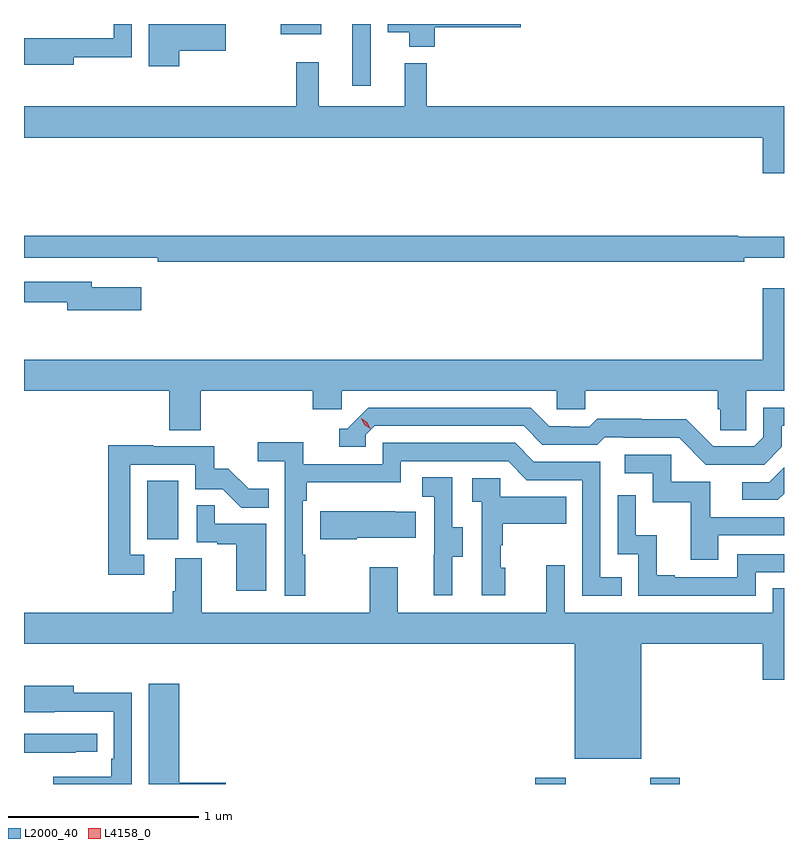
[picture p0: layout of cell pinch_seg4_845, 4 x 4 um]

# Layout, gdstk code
import gdstk
lib = gdstk.Library(unit=1e-6, precision=1e-09)
def R(c, l, rs):  # rectangles x0, y0, x1, y1
    for r in rs: c.add(gdstk.rectangle(r[:2], r[2:], *l))
def P(c, l, *ps):  # polygons
    for p in ps: c.add(gdstk.Polygon(p, *l))
L2000_40 = (2000, 40)
L4158_0 = (4158, 0)

pinch_seg4_845 = lib.new_cell('pinch_seg4_845')
R(pinch_seg4_845, L2000_40, [(883.091,800.078,883.251,800.11), (883.696,800.078,883.851,800.11), (881.048,801.366,881.212,801.673), (882.128,803.754,882.225,804.078), (881.75,804.023,881.965,804.078)])
P(pinch_seg4_845, L2000_40, [(882.563,804.061),(883.015,804.061),(883.015,804.078),(882.314,804.078),(882.314,804.035),(882.428,804.035),(882.428,803.957),(882.563,803.957)],
  [(881.218,803.938),(881.461,803.938),(881.461,804.078),(881.057,804.078),(881.057,803.856),(881.218,803.856)],
  [(880.663,803.902),(880.968,803.902),(880.968,804.078),(880.872,804.078),(880.872,804.003),(880.559,804.003),(880.559,804.004),(880.4,804.004),(880.4,803.864),(880.663,803.864)],
  [(884.4,803.644),(882.521,803.644),(882.521,803.872),(882.404,803.872),(882.404,803.644),(881.951,803.644),(881.951,803.878),(881.833,803.878),(881.833,803.644),(880.4,803.644),(880.4,803.48),(884.288,803.48),(884.288,803.292),(884.4,803.292)],
  [(884.192,802.847),(884.4,802.847),(884.4,802.957),(884.158,802.957),(884.158,802.964),(880.4,802.964),(880.4,802.848),(880.852,802.848),(880.852,802.847),(881.104,802.847),(881.104,802.828),(884.192,802.828)],
  [(881.017,802.693),(880.756,802.693),(880.756,802.722),(880.4,802.722),(880.4,802.614),(880.628,802.614),(880.628,802.571),(881.017,802.571)],
  [(881.33,802.148),(881.921,802.148),(881.921,802.05),(882.072,802.05),(882.072,802.148),(883.203,802.148),(883.203,802.05),(883.353,802.05),(883.353,802.148),(884.051,802.148),(884.051,802.05),(884.065,802.05),(884.065,801.94),(884.202,801.94),(884.202,802.148),(884.4,802.148),(884.4,802.687),(884.288,802.687),(884.288,802.312),(880.4,802.312),(880.4,802.148),(881.165,802.148),(881.165,801.94),(881.33,801.94)],
  [(884.389,801.853),(884.389,801.963),(884.4,801.963),(884.4,802.059),(884.292,802.059),(884.292,801.903),(884.244,801.855),(884.028,801.855),(883.886,801.997),(883.65,801.997),(883.65,802),(883.417,802),(883.375,801.957),(883.272,801.957),(883.272,801.96),(883.165,801.96),(883.066,802.059),(882.213,802.059),(882.102,801.948),(882.059,801.948),(882.059,801.852),(882.198,801.852),(882.198,801.915),(882.246,801.963),(883.029,801.963),(883.128,801.864),(883.417,801.864),(883.456,801.903),(883.555,801.903),(883.555,801.9),(883.848,801.9),(883.989,801.759),(884.295,801.759)],
  [(881.881,801.284),(881.868,801.284),(881.868,801.569),(881.888,801.569),(881.888,801.665),(882.384,801.665),(882.384,801.777),(882.948,801.777),(883.047,801.678),(883.338,801.678),(883.338,801.069),(883.547,801.069),(883.547,801.165),(883.434,801.165),(883.434,801.774),(883.084,801.774),(882.985,801.873),(882.288,801.873),(882.288,801.762),(881.87,801.762),(881.87,801.878),(881.631,801.878),(881.631,801.776),(881.772,801.776),(881.772,801.069),(881.881,801.069)],
  [(881.032,801.285),(880.959,801.285),(880.959,801.759),(881.301,801.759),(881.301,801.63),(881.445,801.63),(881.543,801.532),(881.687,801.532),(881.687,801.631),(881.583,801.631),(881.476,801.738),(881.4,801.738),(881.4,801.855),(881.081,801.855),(881.081,801.86),(880.843,801.86),(880.843,801.18),(881.032,801.18)],
  [(884.053,801.387),(884.4,801.387),(884.4,801.483),(884.011,801.483),(884.011,801.669),(883.806,801.669),(883.806,801.81),(883.563,801.81),(883.563,801.714),(883.71,801.714),(883.71,801.561),(883.909,801.561),(883.909,801.258),(884.053,801.258)],
  [(884.4,801.605),(884.4,801.744),(884.322,801.666),(884.181,801.666),(884.181,801.573),(884.368,801.573)],
  [(882.655,801.274),(882.709,801.274),(882.709,801.429),(882.654,801.429),(882.654,801.692),(882.495,801.692),(882.495,801.589),(882.558,801.589),(882.558,801.285),(882.557,801.285),(882.557,801.072),(882.655,801.072)],
  [(882.934,801.216),(882.909,801.216),(882.909,801.335),(882.919,801.335),(882.919,801.449),(883.253,801.449),(883.253,801.589),(882.906,801.589),(882.906,801.687),(882.759,801.687),(882.759,801.563),(882.81,801.563),(882.81,801.072),(882.934,801.072)],
  [(884.25,801.192),(884.4,801.192),(884.4,801.288),(884.154,801.288),(884.154,801.165),(883.825,801.165),(883.825,801.178),(883.73,801.178),(883.73,801.386),(883.62,801.386),(883.62,801.598),(883.524,801.598),(883.524,801.288),(883.632,801.288),(883.632,801.069),(884.25,801.069)],
  [(881.674,801.447),(881.405,801.447),(881.405,801.545),(881.31,801.545),(881.31,801.351),(881.417,801.351),(881.417,801.339),(881.516,801.339),(881.516,801.096),(881.674,801.096)],
  [(882.151,801.374),(882.461,801.374),(882.461,801.511),(882.353,801.511),(882.353,801.514),(881.96,801.514),(881.96,801.367),(882.151,801.367)],
  [(883.648,800.816),(884.288,800.816),(884.288,800.628),(884.4,800.628),(884.4,801.107),(884.34,801.107),(884.34,800.98),(883.245,800.98),(883.245,801.229),(883.148,801.229),(883.148,800.98),(882.367,800.98),(882.367,801.22),(882.22,801.22),(882.22,800.98),(881.335,800.98),(881.335,801.266),(881.195,801.266),(881.195,801.092),(881.183,801.092),(881.183,800.98),(880.4,800.98),(880.4,800.816),(883.298,800.816),(883.298,800.21),(883.648,800.21)],
  [(881.461,800.084),(881.218,800.084),(881.218,800.605),(881.057,800.605),(881.057,800.078),(881.461,800.078)],
  [(880.968,800.558),(880.663,800.558),(880.663,800.596),(880.4,800.596),(880.4,800.456),(880.559,800.456),(880.559,800.457),(880.872,800.457),(880.872,800.212),(880.859,800.212),(880.859,800.116),(880.554,800.116),(880.554,800.078),(880.968,800.078)],
  [(880.673,800.247),(880.786,800.247),(880.786,800.343),(880.4,800.343),(880.4,800.242),(880.673,800.242)])
P(pinch_seg4_845, L4158_0, [(882.222,801.949),(882.191,801.969),(882.176,802.002),(882.176,802.002),(882.176,802.002),(882.206,801.982),(882.222,801.949),(882.222,801.949)])

lib.write_gds('pinch_seg4_845.gds')
